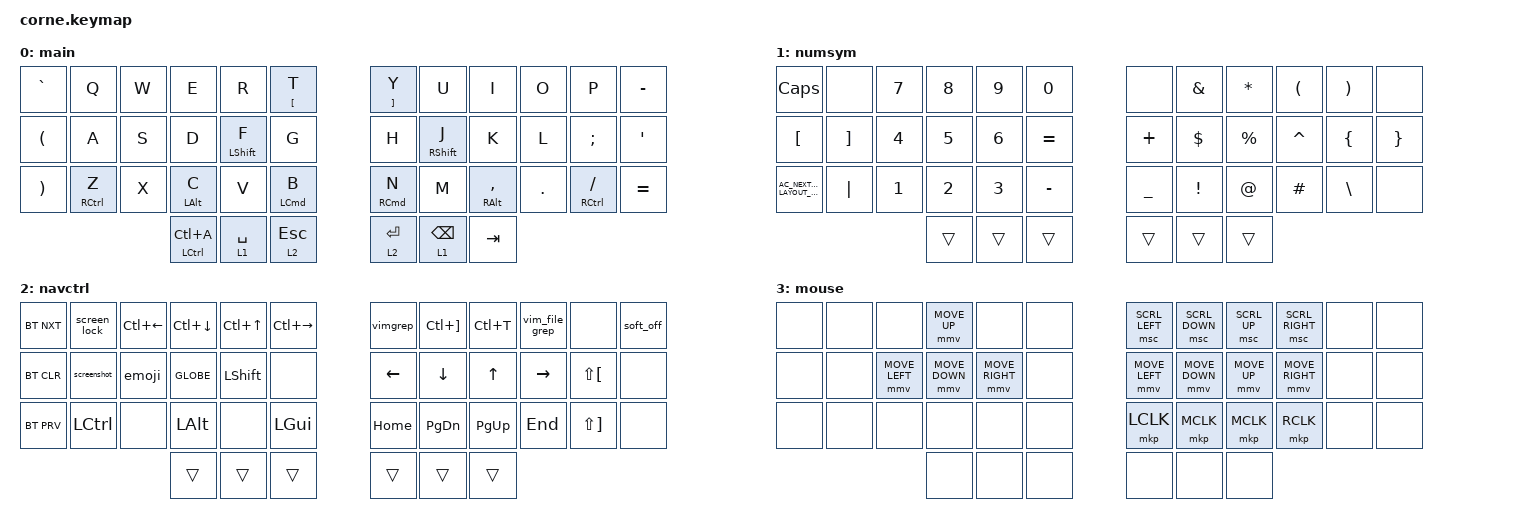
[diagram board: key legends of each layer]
/*
 * Copyright (c) 2020 The ZMK Contributors
 *
 * SPDX-License-Identifier: MIT
 */

#include <behaviors.dtsi>
#include <dt-bindings/zmk/bt.h>
#include <dt-bindings/zmk/keys.h>
#include <dt-bindings/zmk/pointing.h>
#include <dt-bindings/zmk/pointing.h>
#include <dt-bindings/zmk/pointing.h>

&mt {
    flavor = "tap-preferred";
    tapping-term-ms = <250>;
};

/ {
    macros {
        vimgrep: vimgrep {
            compatible = "zmk,behavior-macro";
            #binding-cells = <0>;
            bindings = <&kp LC(G)>;
            label = "VIMGREP";
        };

        vim_file_grep: vim_file_grep {
            compatible = "zmk,behavior-macro";
            #binding-cells = <0>;
            bindings = <&kp LC(P)>;
            label = "VIM_FILE_GREP";
        };

        screenshot: screenshot {
            compatible = "zmk,behavior-macro";
            #binding-cells = <0>;
            bindings = <&kp LG(LS(N4))>;
            label = "SCREENSHOT";
        };

        screen_lock: screen_lock {
            compatible = "zmk,behavior-macro";
            #binding-cells = <0>;
            bindings = <&kp LC(LG(Q))>;
            label = "SCREEN_LOCK";
        };

        tmux_select_mode: tmux_select_mode {
            compatible = "zmk,behavior-macro";
            #binding-cells = <0>;
            bindings = <&kp LC(A) &kp LEFT_BRACKET>;
            label = "TMUX_SELECT_MODE";
            wait-ms = <0>;
        };

        emoji: emoji {
            compatible = "zmk,behavior-macro";
            #binding-cells = <0>;
            bindings = <&kp LC(LG(SPACE))>;
            label = "EMOJI";
        };
    };

    behaviors {
        lshift: lshift {
            compatible = "zmk,behavior-hold-tap";
            label = "LSHIFT";
            bindings = <&kp>, <&kp>;

            #binding-cells = <2>;
            tapping-term-ms = <150>;
            hold-trigger-key-positions = <6 7 8 9 10 11 18 19 20 21 22 23 30 31 32 33 34 35 39 40 41>;
        };

        rshift: rshift {
            compatible = "zmk,behavior-hold-tap";
            label = "RSHIFT";
            bindings = <&kp>, <&kp>;

            #binding-cells = <2>;
            tapping-term-ms = <150>;
            hold-trigger-key-positions = <0 1 2 3 4 5 12 13 14 15 16 17 24 25 26 27 28 29 36 37 38>;
        };
    };

    combos {
        compatible = "zmk,combos";

        mouse_toggle {
            bindings = <&tog 3>;
            key-positions = <39 38 0 11>;
            timeout-ms = <250>;
        };

        keyboard_off {
            bindings = <&soft_off>;
            key-positions = <0 11 24 35>;
            timeout-ms = <500>;
            layers = <0>;
        };
    };

    keymap {
        compatible = "zmk,keymap";

        main {
            // -----------------------------------------------------------------------------------------
            // |  TAB |  Q  |  W  |  E  |  R  |  T  |   |  Y  |  U   |  I  |  O  |  P  | BSPC |
            // | CTRL |  A  |  S  |  D  |  F  |  G  |   |  H  |  J   |  K  |  L  |  ;  |  '   |
            // | SHFT |  Z  |  X  |  C  |  V  |  B  |   |  N  |  M   |  ,  |  .  |  /  | ESC  |
            //                    | GUI | LWR | SPC |   | ENT | RSE  | ALT |

            bindings = <
&kp GRAVE              &kp Q        &kp W  &kp E            &kp R                 &mt LEFT_BRACKET T    &mt RIGHT_BRACKET Y  &kp U                  &kp I           &kp O       &kp P            &kp MINUS
&kp LEFT_PARENTHESIS   &kp A        &kp S  &kp D            &lshift LEFT_SHIFT F  &kp G                 &kp H                &rshift RIGHT_SHIFT J  &kp K           &kp L       &kp SEMI         &kp SQT
&kp RIGHT_PARENTHESIS  &mt RCTRL Z  &kp X  &mt LALT C       &kp V                 &mt LCMD B            &mt RCMD N           &kp M                  &mt RALT COMMA  &kp PERIOD  &mt RCTRL SLASH  &kp EQUAL
                                           &mt LCTRL LC(A)  &lt 1 SPACE           &lt 2 ESCAPE          &lt 2 ENTER          &lt 1 BACKSPACE        &kp TAB
            >;
        };

        numsym {
            // -----------------------------------------------------------------------------------------
            // |  TAB |  1  |  2  |  3  |  4  |  5  |   |  6  |  7  |  8  |  9  |  0  | BSPC |
            // | BTCLR| BT1 | BT2 | BT3 | BT4 | BT5 |   | LFT | DWN |  UP | RGT |     |      |
            // | SHFT |     |     |     |     |     |   |     |     |     |     |     |      |
            //                    | GUI |     | SPC |   | ENT |     | ALT |

            bindings = <
&kp CAPS                              &none              &kp N7        &kp N8  &kp N9        &kp N0       &none      &kp AMPERSAND    &kp ASTERISK  &kp LEFT_PARENTHESIS  &kp RIGHT_PARENTHESIS  &none
&kp LEFT_BRACKET                      &kp RIGHT_BRACKET  &kp NUMBER_4  &kp N5  &kp NUMBER_6  &kp EQUAL    &kp PLUS   &kp DOLLAR       &kp PERCENT   &kp CARET             &kp LEFT_BRACE         &kp RIGHT_BRACE
&kp C_AC_NEXT_KEYBOARD_LAYOUT_SELECT  &kp PIPE           &kp N1        &kp N2  &kp N3        &kp MINUS    &kp UNDER  &kp EXCLAMATION  &kp AT        &kp HASH              &kp BACKSLASH          &none
                                                                       &trans  &trans        &trans       &trans     &trans           &trans
            >;
        };

        navctrl {
            bindings = <
&bt BT_NXT  &screen_lock  &kp LC(LEFT)  &kp LC(DOWN)  &kp LC(UP_ARROW)  &kp LC(RIGHT)    &vimgrep        &kp LC(RIGHT_BRACKET)  &kp LC(T)     &vim_file_grep   &none                  &soft_off
&bt BT_CLR  &screenshot   &emoji        &kp GLOBE     &kp LEFT_SHIFT    &none            &kp LEFT_ARROW  &kp DOWN_ARROW         &kp UP_ARROW  &kp RIGHT_ARROW  &kp LS(LEFT_BRACKET)   &none
&bt BT_PRV  &kp LCTRL     &none         &kp LEFT_ALT  &none             &kp LEFT_GUI     &kp HOME        &kp PAGE_DOWN          &kp PAGE_UP   &kp END          &kp LS(RIGHT_BRACKET)  &none
                                        &trans        &trans            &trans           &trans          &trans                 &trans
            >;
        };

        mouse {
            bindings = <
&none  &none  &none           &mmv MOVE_UP    &none            &none    &msc SCRL_LEFT  &msc SCRL_DOWN  &msc SCRL_UP  &msc SCRL_RIGHT  &none  &none
&none  &none  &mmv MOVE_LEFT  &mmv MOVE_DOWN  &mmv MOVE_RIGHT  &none    &mmv MOVE_LEFT  &mmv MOVE_DOWN  &mmv MOVE_UP  &mmv MOVE_RIGHT  &none  &none
&none  &none  &none           &none           &none            &none    &mkp LCLK       &mkp MCLK       &mkp MCLK     &mkp RCLK        &none  &none
                              &none           &none            &none    &none           &none           &none
            >;
        };
    };
};
